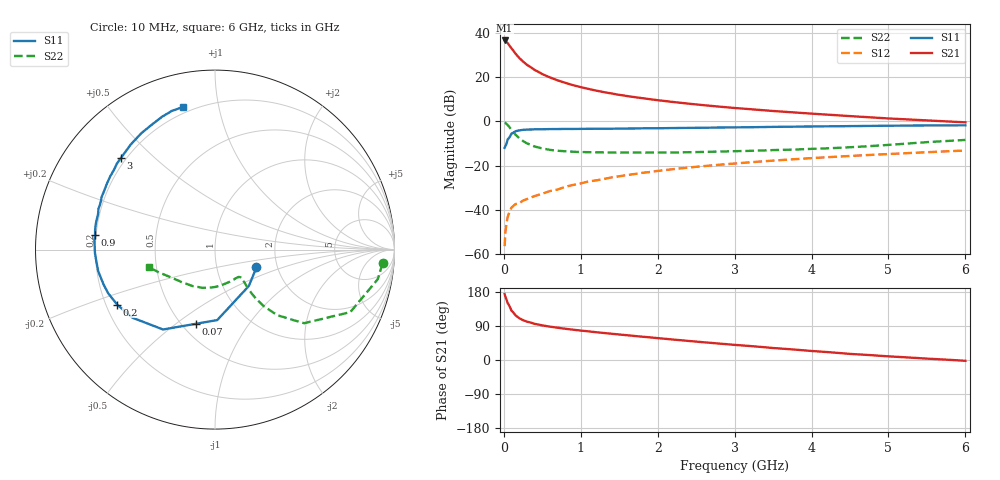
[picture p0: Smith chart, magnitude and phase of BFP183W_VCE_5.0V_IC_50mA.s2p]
! Infineon Technologies  Discrete & RF Semiconductors
! BFP183W
! VCE =  5.0 V,  IC =  50 mA
! Common Emitter S-Parameters:  Jan 2017
# GHz  S  MA  R  50
!  f  S11  S21  S12  S22
! GHz  MAG  ANG  MAG  ANG  MAG  ANG  MAG  ANG
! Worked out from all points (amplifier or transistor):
!   77 points, 10 MHz to 6 GHz, reference 50 ohm
!   highest |S21| = 36.6 dB at 10 MHz (marker M1)
!   |S21| within 3 dB of that: start of sweep to 87.07 MHz
!   unconditionally stable (mu >= 1): 619.2 MHz to 3.353 GHz
!   at 130 MHz: K = 0.41, MSG = 34.9 dB, |S12| = -38.1 dB
!   at 2.2 GHz: K = 1.07, MAG = 13.6 dB, |S12| = -21.6 dB
!   at 6 GHz: K = 0.85, MSG = 6.4 dB, |S12| = -13.2 dB
!   S11 on the Smith chart (normalised r, x): 10 MHz: 1.56, -0.33; 70 MHz: 0.58, -0.59; 200 MHz: 0.25, -0.25; 900 MHz: 0.20, +0.06; 3 GHz: 0.18, +0.39; 6 GHz: 0.17, +0.79
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0.01  0.2517 -23.3  67.77 174.0  0.0015 92.5  0.9366 -4.7
0.02  0.277 -47.2  66.53 167.0  0.0031 90.2  0.9217 -10.3
0.05  0.3929 -88.2  59.1 150.0  0.0069 70.3  0.8305 -24.8
0.07  0.4277 -104.7  52.71 143.3  0.0086 64.9  0.75 -29.8
0.1  0.5309 -123.0  44.94 129.9  0.0112 60.0  0.6435 -39.6
0.13  0.564 -134.0  38.41 123.6  0.0125 53.3  0.559 -43.3
0.15  0.5964 -140.5  34.39 118.2  0.0134 49.5  0.5043 -46.5
0.2  0.6253 -150.6  27.31 110.4  0.014 50.2  0.4169 -49.2
0.25  0.643 -157.8  22.53 105.0  0.0162 50.9  0.3586 -50.1
0.3  0.6507 -162.8  19.07 101.2  0.0174 52.6  0.3184 -50.1
0.4  0.6618 -169.6  14.59 95.4  0.0204 55.1  0.2701 -49.1
0.5  0.6645 -174.5  11.76 91.3  0.0231 57.7  0.244 -48.1
0.7  0.6708 178.4  8.469 85.2  0.0287 62.8  0.2163 -47.0
0.9  0.673 173.2  6.597 80.0  0.0364 65.4  0.2058 -48.1
1.1  0.6788 168.7  5.424 75.6  0.0438 66.9  0.2012 -49.8
1.5  0.6879 160.8  3.988 67.3  0.0573 67.1  0.1969 -55.9
2.1  0.7027 149.9  2.878 55.9  0.0792 65.5  0.1973 -69.7
3  0.7315 135.9  2.01 39.9  0.1113 60.9  0.2117 -94.9
3.1  0.7344 134.4  1.949 38.4  0.1149 60.3  0.2132 -97.7
4.1  0.7699 121.0  1.459 22.4  0.1508 53.9  0.2418 -124.9
5.1  0.7993 110.7  1.141 8.5  0.1859 46.9  0.3019 -150.8
6  0.814 102.7  0.951 -2.1  0.2192 40.3  0.3802 -164.9
